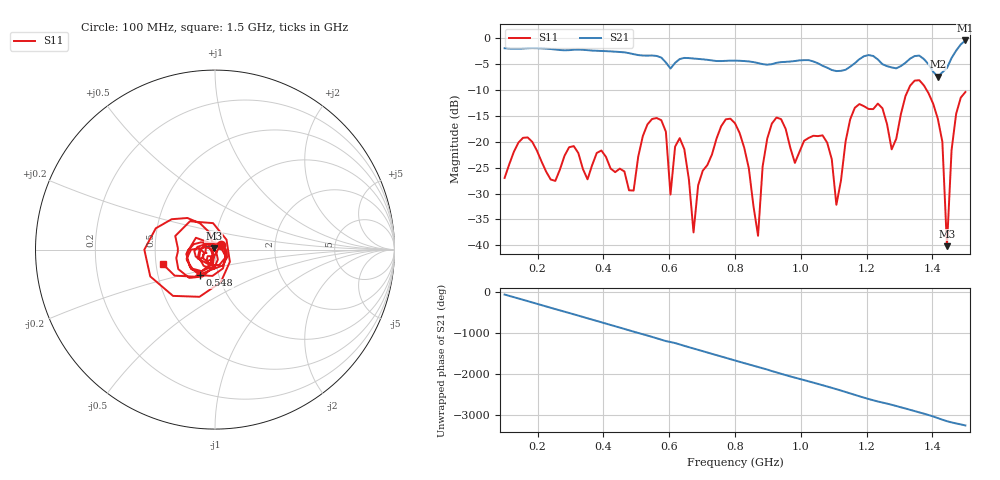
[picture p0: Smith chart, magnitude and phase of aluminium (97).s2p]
! NanoVNA-App
! Date: 2025-09-26 09:58:49
! Start: 100MHz Stop: 1,5GHz Points: 101
! S-Parameter data: F S11 S21 S12 S22
# Hz S RI R 50
!  Frequency  S11_Real  S11_Imag  S21_Real  S21_Imag  S12_Real  S12_Imag  S22_Real  S22_Imag
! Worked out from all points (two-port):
!   101 points, 100 MHz to 1.5 GHz, reference 50 ohm
!   highest |S21| = -0.41 dB at 1.5 GHz (marker M1); lowest = -7.4 dB at 1.416 GHz (marker M2)
!   |S21| within 3 dB of the highest: start of sweep to 562.4 MHz; 1.462 GHz to end of sweep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
!   lowest |S11| = -40.2 dB at 1.444 GHz (marker M3), VSWR 1.02, Z = 49.3 + j0.69 ohm
!   |S11| at or under -10 dB: start of sweep to 1.326 GHz; 1.382 GHz to end of sweep
!   S12 and S22 are empty: the file has one direction only
!   S11 on the Smith chart (normalised r, x): 100 MHz: 1.07, +0.06; 548 MHz: 0.81, -0.24; 1.5 GHz: 0.54, -0.09
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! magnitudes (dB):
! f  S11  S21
! 100 MHz  -27.0  -1.9
! 156 MHz  -19.2  -2.0
! 338 MHz  -25.3  -2.2
! 492 MHz  -29.4  -3.1
! 548 MHz  -15.6  -3.3
! 576 MHz  -15.8  -3.7
! 604 MHz  -30.2  -5.8
! 646 MHz  -21.4  -3.8
! 674 MHz  -37.5  -3.9
! 800 MHz  -16.4  -4.3
! 870 MHz  -38.2  -4.8
! 912 MHz  -16.5  -5.0
! 1.038 GHz  -18.8  -4.5
! 1.108 GHz  -32.2  -6.3
! 1.164 GHz  -13.4  -4.8
! 1.276 GHz  -21.5  -5.6
! 1.346 GHz  -8.2  -3.4
! 1.416 GHz  -15.5  -7.4
! 1.43 GHz  -20.0  -6.6
! 1.444 GHz  -40.2  -5.7
! 1.458 GHz  -21.6  -3.8
! 1.5 GHz  -10.4  -0.4
